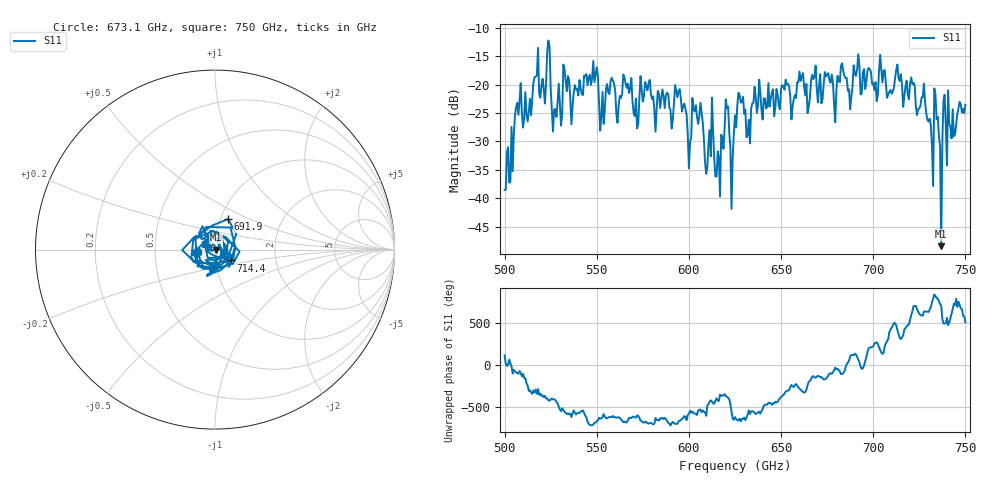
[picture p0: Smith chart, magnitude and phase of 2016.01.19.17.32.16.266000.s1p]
!Created with skrf (http://scikit-rf.org).
# GHz S RI R 50.0
!freq ReS11 ImS11
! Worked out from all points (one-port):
!   401 points, 500 GHz to 750 GHz, reference 50 ohm
!   lowest |S11| = -48.4 dB at 736.9 GHz (marker M1), VSWR 1.01, Z = 50.4 - j0.0978 ohm
!   |S11| at or under -10 dB: start of sweep to end of sweep
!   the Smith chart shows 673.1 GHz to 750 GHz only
!   S11 on the Smith chart (normalised r, x): 673.1 GHz: 0.82, -0.03; 691.9 GHz: 1.09, +0.38; 714.4 GHz: 1.19, -0.14; 750 GHz: 0.89, +0.06
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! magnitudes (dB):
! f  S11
! 500 GHz  -38.5
! 507.5 GHz  -25.3
! 513.1 GHz  -24.8
! 516.9 GHz  -18.6
! 526.9 GHz  -24.4
! 531.2 GHz  -25.0
! 549.4 GHz  -18.3
! 552.5 GHz  -25.6
! 562.5 GHz  -22.0
! 593.8 GHz  -22.2
! 615.6 GHz  -31.7
! 620.6 GHz  -24.1
! 623.1 GHz  -41.9
! 625 GHz  -25.4
! 628.1 GHz  -23.2
! 631.9 GHz  -28.9
! 636.9 GHz  -25.0
! 656.2 GHz  -23.9
! 673.1 GHz  -19.8
! 687.5 GHz  -24.3
! 691.9 GHz  -14.7
! 714.4 GHz  -19.4
! 718.8 GHz  -21.7
! 731.2 GHz  -27.2
! 734.4 GHz  -26.1
! 736.9 GHz  -48.4
! 739.4 GHz  -27.2
! 750 GHz  -23.6
